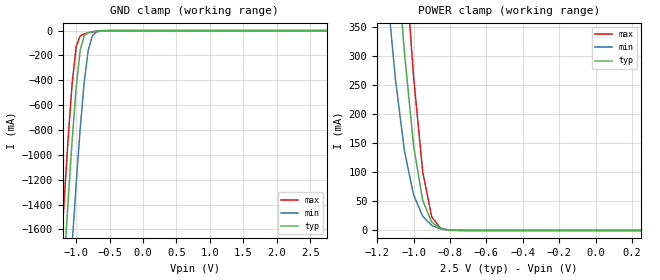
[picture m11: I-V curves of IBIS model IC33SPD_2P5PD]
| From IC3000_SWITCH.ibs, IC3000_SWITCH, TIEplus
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|   Model IC33SPD_2P5PD
[Model]   IC33SPD_2P5PD
Model_type   Input
Polarity   Non-Inverting
Vinl =   0.7500V
Vinh =   1.7500V
C_comp   1.6450pF   1.6720pF   1.6340pF
[Model Spec]
|   typ   min   max
Vinh   1.750V   1.575V   1.925V
Vinl   0.750V   0.675V   0.825V
[Temperature Range]   25.0000   0.1250k   -40.0000
[Voltage Range]   2.5000V   2.2500V   2.7500V
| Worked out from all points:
|   GND clamp passes 1 mA (typ) near -0.59 V on its own axis
|   POWER clamp passes 1 mA (typ) near -0.81 V on its own axis
| (Vdd votage range)   1.50V   1.35V   1.65V
| (Process strength)   nominal   weak   strong
[GND_clamp]
| voltage   I(typ)   I(min)   I(max)
-2.5V     -14.56A    -15.37A    -14.1A
-1.24V    -2.42A     -3.298A    -1.907A
-1.18V    -1.885A    -2.759A    -1.375A
-1.12V    -1.369A    -2.232A    -871mA
-1.06V    -884.3mA   -1.722A    -427mA
-1V       -460.1mA   -1.237A    -129.1mA
-940mV    -160.3mA   -792.1mA   -43.01mA
-880mV    -41.57mA   -417.2mA   -27.27mA
-820mV    -17mA      -160.2mA   -18.18mA
-760mV    -9.553mA   -44.94mA   -10.74mA
-700mV    -5.065mA   -12.56mA   -5.147mA
2.75V     0A         0A         0A
[POWER_clamp]
| voltage   I(typ)   I(min)   I(max)
-2.5V     8.108A     7.368A     8.703A
-1.15V    732.8mA    427.9mA    979.8mA
-1.1V     506.2mA    260.6mA    722.9mA
-1.05V    304.3mA    136mA      480.2mA
-1V       145.6mA    61.06mA    263.9mA
-950mV    51.6mA     24.46mA    101mA
-900mV    14.06mA    8.408mA    23.03mA
-850mV    2.845mA    2.385mA    3.238mA
-800mV    494.1uA    613uA      397.2uA
-750mV    117.9uA    166.2uA    124uA
250mV     0A         0A         0A
